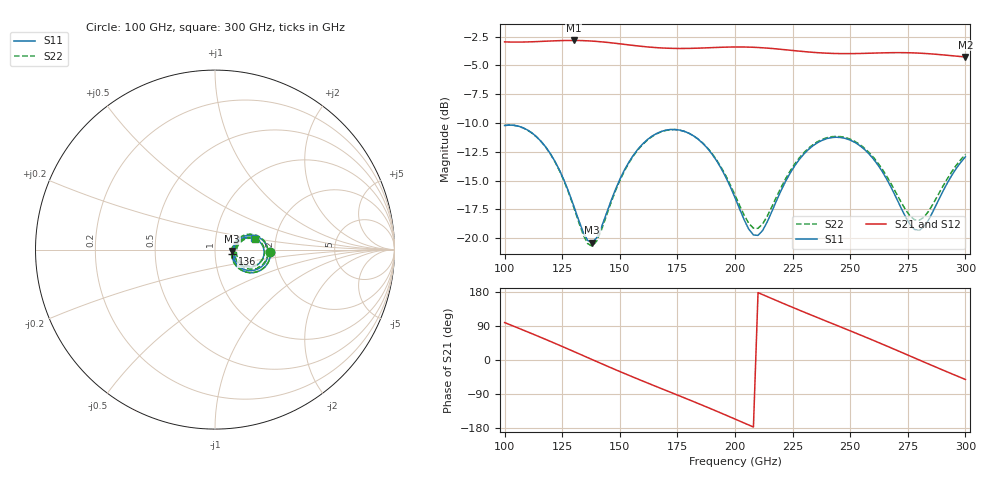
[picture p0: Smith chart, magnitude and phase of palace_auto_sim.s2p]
#  GHZ S DB R 50
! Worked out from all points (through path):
!   101 points, 100 GHz to 300 GHz, reference 50 ohm
!   highest |S21| = -2.84 dB at 130 GHz (marker M1); lowest = -4.3 dB at 300 GHz (marker M2)
!   group delay of S21, straight-line fit = 7.08 ps
!   lowest |S11| = -20.4 dB at 138 GHz (marker M3), VSWR 1.21, Z = 60.5 - j0.872 ohm
!   |S11| at or under -10 dB: start of sweep to end of sweep
!   |S22| runs from -20.7 to -10.2 dB; largest |S21 - S12| = 7.8e-14
!   S11 on the Smith chart (normalised r, x): 100 GHz: 1.89, -0.05; 136 GHz: 1.21, -0.06; 300 GHz: 1.54, +0.21
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100  -10.21 -2.2  -2.96 98.8  -2.96 98.8  -10.22 -2.0
114  -11.21 -25.5  -2.93 64.1  -2.93 64.1  -11.23 -25.4
122  -13.38 -35.8  -2.87 43.5  -2.87 43.5  -13.41 -35.9
130  -17.18 -35.9  -2.84 22.5  -2.84 22.5  -17.30 -36.3
134  -19.41 -25.2  -2.85 11.8  -2.85 11.8  -19.63 -25.5
136  -20.18 -15.6  -2.87 6.5  -2.87 6.5  -20.45 -15.5
138  -20.38 -4.3  -2.89 1.1  -2.89 1.1  -20.68 -3.7
146  -16.85 23.5  -3.04 -20.0  -3.04 -20.0  -17.00 25.3
154  -13.37 22.0  -3.22 -40.6  -3.22 -40.6  -13.44 23.8
168  -10.73 2.8  -3.48 -75.3  -3.48 -75.3  -10.76 4.6
184  -11.40 -22.5  -3.50 -114.7  -3.50 -114.7  -11.39 -20.2
200  -16.47 -34.1  -3.40 -155.8  -3.40 -155.8  -16.25 -30.6
206  -19.22 -20.5  -3.41 -171.6  -3.41 -171.6  -18.71 -17.5
210  -19.74 -2.6  -3.45 177.8  -3.45 177.8  -19.13 -1.3
220  -15.85 21.3  -3.61 151.7  -3.61 151.7  -15.59 20.8
234  -11.95 9.9  -3.87 116.4  -3.87 116.4  -11.85 10.4
250  -11.48 -13.5  -3.98 77.0  -3.98 77.0  -11.40 -12.1
258  -12.64 -24.1  -3.95 57.0  -3.95 57.0  -12.52 -22.0
268  -15.68 -30.1  -3.90 31.3  -3.90 31.3  -15.36 -27.0
280  -19.30 -1.9  -3.94 -0.0  -3.94 -0.0  -18.43 -1.3
290  -16.02 20.8  -4.08 -26.0  -4.08 -26.0  -15.57 18.7
300  -12.93 16.3  -4.27 -51.3  -4.27 -51.3  -12.72 14.7
